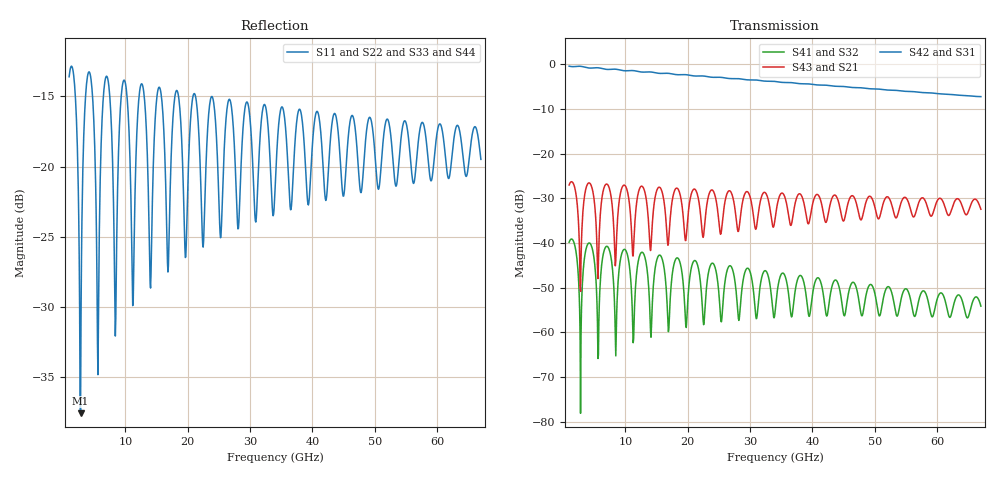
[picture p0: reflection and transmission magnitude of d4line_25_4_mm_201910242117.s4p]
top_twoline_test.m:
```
%% Basic information
% The verification of the following paper(Section III):
% M. K. Sampath, "On addressing the practical issues in the extraction of RLGC parameters for lossy multiconductor transmission lines using S-parameter models," 2008 IEEE-EPEP Electrical Performance of Electronic Packaging, San Jose, CA, 2008, pp. 259-262.
% Author Name: Wei Guorui
% Instructor Name: Xia Bin
% Created at: 2019-10-24 09:52
% Last modified: 2019-10-24 
clc; clear; close all;
addpath(genpath('../code'))

%% Port numbering
% 	           PORT NUMBERING (Classic style)
% 	    PORT#                               PORT#
% 	    Z1 = Z3 = 50.00                     Z2 = Z4 = 50.00
% 	           --------------------------
% 	          |                          |
% 	      1 --|                          |-- N+1
% 	          |                          |
% 	     ...--|                          |-- ...
% 	          |                          |
% 	    N-1 --|                          |-- 2N-1
% 	          |                          |
% 	      N --|                          |-- 2N
% 	          |                          |
% 	           --------------------------

%% Initialize
LL_1 = 0.0254; % line length(meters).
LL_2 = 0.0224; 
LL = LL_1 - LL_2;
filename_TL1 = 'data/SI/d4line_25_4_mm_201910242117.s4p';
filename_TL2 = 'data/SI/d4line_22_4_mm_201910242117.s4p';
SE8P_Data_1 = read(rfdata.data,filename_TL1); % SingleEnded8PortData
SE8P_Data_2 = read(rfdata.data,filename_TL2); % SingleEnded8PortData
Z0 = SE8P_Data_1.Z0;
ZL = SE8P_Data_1.ZL;
ZS = SE8P_Data_1.ZS;
SE8P_Data_1.S_Parameters = snp2smp(SE8P_Data_1.S_Parameters,...
    Z0,[1 2 3 4]);
SE8P_Data_2.S_Parameters = snp2smp(SE8P_Data_2.S_Parameters,...
    Z0,[1 2 3 4]);
freq = SE8P_Data_1.Freq;
freqpts = length(freq);
numLines = size(SE8P_Data_1.S_Parameters,1)/2;
s_params_1 = sparameters(SE8P_Data_1);
s_params_2 = sparameters(SE8P_Data_2);

%% Convert 2N¡Á2N S matrix to 2N¡Á2N T Matrix(ABCD) and Z matrix
T_mat_1 = s2t_mod(SE8P_Data_1.S_Parameters, Z0); % notice the difference in "s2rlgc": S -> T.
T_mat_2 = s2t_mod(SE8P_Data_2.S_Parameters, Z0); % notice the difference in "s2rlgc": S -> T.

%% Calculate the M matrix
X_mat = T_mat_1 + T_mat_2;
Y_mat = T_mat_1 - T_mat_2;
M_mat_1 = zeros(size(X_mat));
M_mat_2 = M_mat_1;
for idx = 1:freqpts
    M_mat_1(:,:,idx) = (Y_mat(:,:,idx)/X_mat(:,:,idx) + X_mat(:,:,idx)/Y_mat(:,:,idx))...
        /(X_mat(:,:,idx)/Y_mat(:,:,idx) - Y_mat(:,:,idx)/X_mat(:,:,idx));
    M_mat_2(:,:,idx) = (X_mat(:,:,idx)/Y_mat(:,:,idx) - Y_mat(:,:,idx)/X_mat(:,:,idx))\eye(2*numLines);
end

%% Calculate Zc,gamma
D_M1 = T_mat_1(numLines+1:end, numLines+1:end,:);
C_M2 = T_mat_2(numLines+1:end, 1:numLines,:);
gamma = acoshMat(D_M1)/LL; % Complex propagation constant((Nepers/m),(radians/m))
Zc = zeros(numLines,numLines,freqpts); % Characteristic line impedance(ohm)
for m = 1:freqpts
    sinh_gamma = funm(gamma(:,:,m)*LL,@sinh);
    if abs(sinh_gamma) < eps
        Zc(:,:,m) = eps;
    else
        Zc(:,:,m) = 0.5 * C_M2(:,:,m)\sinh_gamma;
    end
end
%% Calculate the RLGC matrices
rlgc_params = zGamma2rlgc(Zc,gamma,freq);

% One-line method
rlgc_params_oneLine = s2rlgc_mod2(SE8P_Data_1.S_Parameters,LL_1,freq,Z0);

%% Rebuilt S params
% Two-line method
s_params_rebuilt = snp2smp(sparameters(rlgc2s_mod(rlgc_params.R,rlgc_params.L,...
    rlgc_params.G,rlgc_params.C,LL_1,freq,Z0),freq,Z0),[1 2 3 4],Z0);

% One-line method
s_params_rebuilt_oneLine = snp2smp(sparameters(rlgc2s_mod(rlgc_params_oneLine.R,rlgc_params_oneLine.L,...
    rlgc_params_oneLine.G,rlgc_params_oneLine.C,LL_1,freq,Z0),freq,Z0),[1 2 3 4],Z0);

%% figure

figure('Name','s_params_rebuilt_oneLine');
rfplot(s_params_rebuilt_oneLine);
hold on
rfplot(s_params_1);
```
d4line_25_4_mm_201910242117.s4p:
! www.PolarInstruments.com
! File Export V10.11 [9.03]
! For hxji@mail.xidian.edu.cn;QQ=47399897
! File : D:\SJTU\Bachelor\thesis\Coupled_STRP\Code\data\SI\d4line_25_4_mm_201910242117.s4p
! Polar  PCB Transmission Line Field Solver  v11.04.00
# MHz S RI R 50.00
! Line Length = 0.025m ( 1.00 inch )
!  PORT NUMBERING (Classic style)
!  PORT#  PORT#
!  Z1 = Z2 = 50.00  Z3 = Z4 = 50.00
!  1 --|  |-- 3
!  2 --|  |-- 4
! FREQ MHz  S11  S12  S13  S14
!  S21  S22  S23  S24
!  S31  S32  S33  S34
!  S41  S42  S43  S44
!  REAL  IMAG  REAL  IMAG  REAL  IMAG  REAL  IMAG
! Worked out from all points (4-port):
!   901 points, 1 GHz to 67 GHz, reference 50 ohm
!   strongest paths, dB at 1 GHz, 17.5 GHz, 34 GHz, 50.5 GHz, 67 GHz:
!     S42: -0.4, -2.1, -3.8, -5.5, -7.2
!     S31: -0.4, -2.1, -3.8, -5.5, -7.2
!     S43: -27.0, -30.7, -34.7, -34.5, -32.4
!     S21: -27.0, -30.7, -34.7, -34.5, -32.4
!     S41: -39.8, -47.3, -55.6, -55.2, -54.1
!     S32: -39.8, -47.3, -55.6, -55.2, -54.1
!   lowest |S11| = -37.6 dB at 2.833 GHz (marker M1), VSWR 1.03, Z = 51.1 + j0.827 ohm
!   |S11| at or under -10 dB: start of sweep to end of sweep
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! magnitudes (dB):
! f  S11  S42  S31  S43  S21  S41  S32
! 1 GHz  -13.6  -0.4  -0.4  -27.0  -27.0  -39.8  -39.8
! 2.833 GHz  -37.6  -0.4  -0.4  -50.8  -50.8  -78.1  -78.1
! 67 GHz  -19.5  -7.2  -7.2  -32.4  -32.4  -54.1  -54.1
